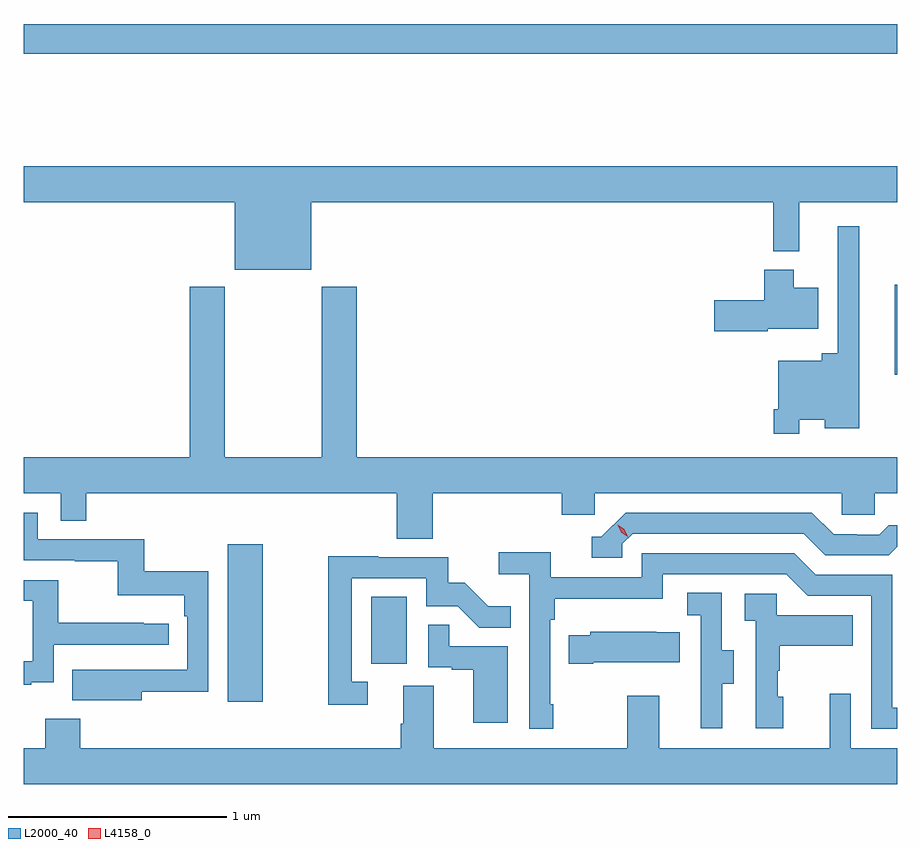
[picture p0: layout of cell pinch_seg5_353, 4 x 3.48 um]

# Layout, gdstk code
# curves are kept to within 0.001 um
import gdstk
lib = gdstk.Library(unit=1e-6, precision=1e-09)
def R(c, l, rs):  # rectangles x0, y0, x1, y1
    for r in rs: c.add(gdstk.rectangle(r[:2], r[2:], *l))
def P(c, l, *ps):  # polygons
    for p in ps: c.add(gdstk.Polygon(p, *l))
L2000_40 = (2000, 40)
L4158_0 = (4158, 0)

pinch_seg5_353 = lib.new_cell('pinch_seg5_353')
R(pinch_seg5_353, L2000_40, [(974.963,881.112,975.124,881.833), (975.62,881.286,975.784,881.593), (978.017,882.611,978.029,883.021), (974.029,884.08,978.029,884.216)])
P(pinch_seg5_353, L2000_40, [(975.346,883.4),(977.461,883.4),(977.461,883.175),(977.579,883.175),(977.579,883.4),(978.029,883.4),(978.029,883.564),(974.029,883.564),(974.029,883.4),(974.996,883.4),(974.996,883.091),(975.346,883.091)],
  [(977.58,882.404),(977.696,882.404),(977.696,882.365),(977.854,882.365),(977.854,883.291),(977.757,883.291),(977.757,882.709),(977.684,882.709),(977.684,882.673),(977.484,882.673),(977.484,882.451),(977.464,882.451),(977.464,882.339),(977.58,882.339)],
  [(977.436,882.821),(977.668,882.821),(977.668,883.009),(977.554,883.009),(977.554,883.09),(977.42,883.09),(977.42,882.951),(977.19,882.951),(977.19,882.809),(977.436,882.809)],
  [(975.394,883.012),(975.394,882.232),(974.949,882.232),(974.949,883.012),(974.789,883.012),(974.789,882.232),(974.029,882.232),(974.029,882.068),(974.199,882.068),(974.199,881.941),(974.315,881.941),(974.315,882.068),(975.737,882.068),(975.737,881.86),(975.902,881.86),(975.902,882.068),(976.493,882.068),(976.493,881.97),(976.644,881.97),(976.644,882.068),(977.775,882.068),(977.775,881.97),(977.925,881.97),(977.925,882.068),(978.029,882.068),(978.029,882.232),(975.554,882.232),(975.554,883.012)],
  [(974.569,881.158),(974.874,881.158),(974.874,881.71),(974.581,881.71),(974.581,881.856),(974.094,881.856),(974.094,881.979),(974.029,881.979),(974.029,881.76),(974.263,881.76),(974.263,881.755),(974.46,881.755),(974.46,881.6),(974.765,881.6),(974.765,881.504),(974.778,881.504),(974.778,881.259),(974.465,881.259),(974.465,881.26),(974.251,881.26),(974.251,881.12),(974.569,881.12)],
  [(976.77,881.835),(976.818,881.883),(977.601,881.883),(977.7,881.784),(977.989,881.784),(978.029,881.823),(978.029,881.92),(977.989,881.92),(977.947,881.877),(977.844,881.877),(977.844,881.88),(977.737,881.88),(977.638,881.979),(976.785,881.979),(976.674,881.868),(976.631,881.868),(976.631,881.772),(976.77,881.772)],
  [(976.453,881.101),(976.44,881.101),(976.44,881.489),(976.46,881.489),(976.46,881.585),(976.956,881.585),(976.956,881.697),(977.52,881.697),(977.619,881.598),(977.91,881.598),(977.91,880.989),(978.029,880.989),(978.029,881.085),(978.006,881.085),(978.006,881.694),(977.656,881.694),(977.557,881.793),(976.86,881.793),(976.86,881.682),(976.442,881.682),(976.442,881.798),(976.203,881.798),(976.203,881.696),(976.344,881.696),(976.344,880.989),(976.453,880.989)],
  [(975.604,881.205),(975.531,881.205),(975.531,881.679),(975.873,881.679),(975.873,881.55),(976.017,881.55),(976.115,881.452),(976.259,881.452),(976.259,881.551),(976.155,881.551),(976.048,881.658),(975.972,881.658),(975.972,881.775),(975.653,881.775),(975.653,881.78),(975.423,881.78),(975.423,881.1),(975.604,881.1)],
  [(974.063,881.201),(974.166,881.201),(974.166,881.373),(974.692,881.373),(974.692,881.469),(974.579,881.469),(974.579,881.474),(974.186,881.474),(974.186,881.67),(974.029,881.67),(974.029,881.574),(974.07,881.574),(974.07,881.298),(974.029,881.298),(974.029,881.19),(974.063,881.19)],
  [(977.227,881.194),(977.281,881.194),(977.281,881.349),(977.226,881.349),(977.226,881.612),(977.067,881.612),(977.067,881.509),(977.13,881.509),(977.13,881.205),(977.129,881.205),(977.129,880.992),(977.227,880.992)],
  [(977.506,881.136),(977.481,881.136),(977.481,881.255),(977.491,881.255),(977.491,881.369),(977.825,881.369),(977.825,881.509),(977.478,881.509),(977.478,881.607),(977.331,881.607),(977.331,881.483),(977.382,881.483),(977.382,880.992),(977.506,880.992)],
  [(976.246,881.367),(975.977,881.367),(975.977,881.465),(975.882,881.465),(975.882,881.271),(975.989,881.271),(975.989,881.259),(976.088,881.259),(976.088,881.016),(976.246,881.016)],
  [(976.636,881.294),(977.033,881.294),(977.033,881.431),(976.925,881.431),(976.925,881.434),(976.623,881.434),(976.623,881.416),(976.525,881.416),(976.525,881.287),(976.636,881.287)],
  [(978.029,880.9),(977.817,880.9),(977.817,881.149),(977.72,881.149),(977.72,880.9),(976.939,880.9),(976.939,881.14),(976.792,881.14),(976.792,880.9),(975.907,880.9),(975.907,881.186),(975.767,881.186),(975.767,881.012),(975.755,881.012),(975.755,880.9),(974.288,880.9),(974.288,881.035),(974.128,881.035),(974.128,880.9),(974.029,880.9),(974.029,880.736),(978.029,880.736)])
P(pinch_seg5_353, L4158_0, [(976.794,881.869),(976.764,881.889),(976.748,881.922),(976.748,881.922),(976.749,881.922),(976.779,881.902),(976.794,881.87),(976.794,881.869)])

lib.write_gds('pinch_seg5_353.gds')
